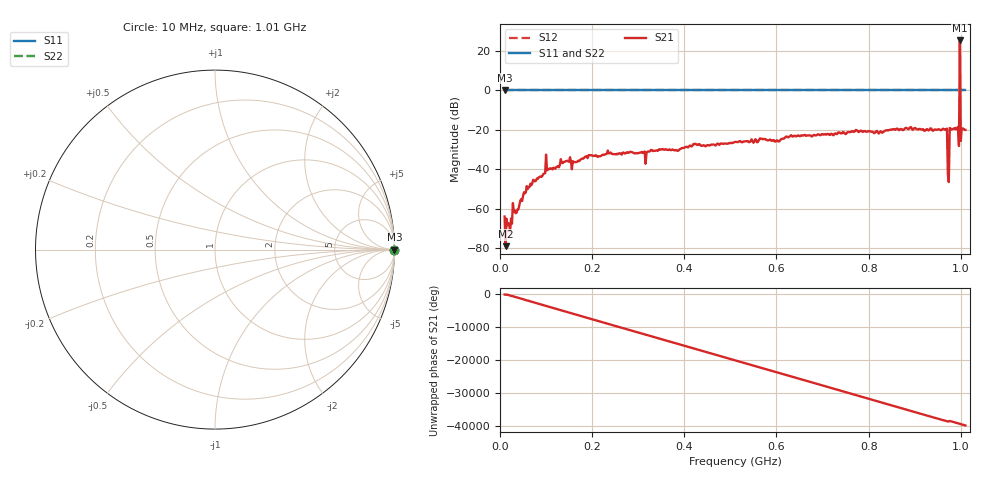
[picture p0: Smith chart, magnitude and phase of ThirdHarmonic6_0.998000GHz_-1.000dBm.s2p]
! 8/16/2025 8:01:12 AM
! C:\ANRITSUVNA\TEMP\TEMP.S2P
! CHANNEL.1
! TR.MEASUREMENT
! RAW.DATA
! RF.CORRECTION.OFF
! AVERAGING.OFF
! IF.BANDWIDTH: 5KHZ
! SWEEPTYPE:  FREQ.SWEEP(Linear)
! Reference Plane Port Info
! PORT:  PORT1  PORT2
! DISTANCE:  0  m  0  m
! TIME:  0  s  0  s
! PHASE.OFFSET:  0  deg.  0  deg.
! LOSS:  0  dB  0  dB
! REF.LOSS:  0  dB  0  dB
! REF.FREQ:  0  Hz  0  Hz
! Power Info
! POWER:  -20  dBm  -20  dBm
! EFF.POWER:  -20  dBm  -20  dBm
! SOURCE.ATTEN:  0  dB  0  dB
! TEST.ATTEN:  0  dB  0  dB
# GHZ S RI R 50.0
! FREQ.GHZ  S11RE  S11IM  S21RE  S21IM  S12RE  S12IM  S22RE  S22IM
!; PortSelection: Port_12
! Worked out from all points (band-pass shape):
!   501 points, 10 MHz to 1.01 GHz, reference 50 ohm
!   highest |S21| = 25.09 dB at 998 MHz (marker M1); lowest = -78.9 dB at 12 MHz (marker M2)
!   |S21| within 3 dB of the highest: 997.8876 MHz to 998.1181 MHz (230.5 kHz wide, 0.0231 % of centre)
!   lowest |S11| = 0.0 dB at 10 MHz (marker M3)
!   |S11| at or under -10 dB: nowhere
!   |S22| runs from 0.0 to 0.0 dB; largest |S21 - S12| = 18
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0.01  1 0  0.000534 -0.000344  1 0  1 0
0.012  1 0  -2.7e-05 -0.00011  1 0  1 0
0.022  1 0  0.000264 -6.8e-06  1 0  1 0
0.028  1 0  -0.00137 -0.000205  1 0  1 0
0.038  1 0  -0.000603 0.000746  1 0  1 0
0.062  1 0  -0.00305 -0.00167  1 0  1 0
0.104  1 0  0.00521 -0.00831  1 0  1 0
0.178  1 0  -0.0183 -0.00234  1 0  1 0
0.344  1 0  0.0289 -0.00969  1 0  1 0
0.51  1 0  -0.0416 0.0252  1 0  1 0
0.678  1 0  -0.0479 -0.0487  1 0  1 0
0.844  1 0  0.0946 0.0199  1 0  1 0
0.966  1 0  -0.0559 0.0821  1 0  1 0
0.97  1 0  0.0838 -0.0645  1 0  1 0
0.976  1 0  0.0196 0.108  1 0  1 0
0.98  1 0  0.0122 -0.1  1 0  1 0
0.992  1 0  -0.0995 0.04  1 0  1 0
0.994  1 0  0.0268 0.1147  1 0  1 0
0.998  1 0  4.601 -17.36  1 0  1 0
1.002  1 0  -0.0258 0.1024  1 0  1 0
1.004  1 0  0.0984 0.0436  1 0  1 0
1.01  1 0  -0.0783 0.0592  1 0  1 0
